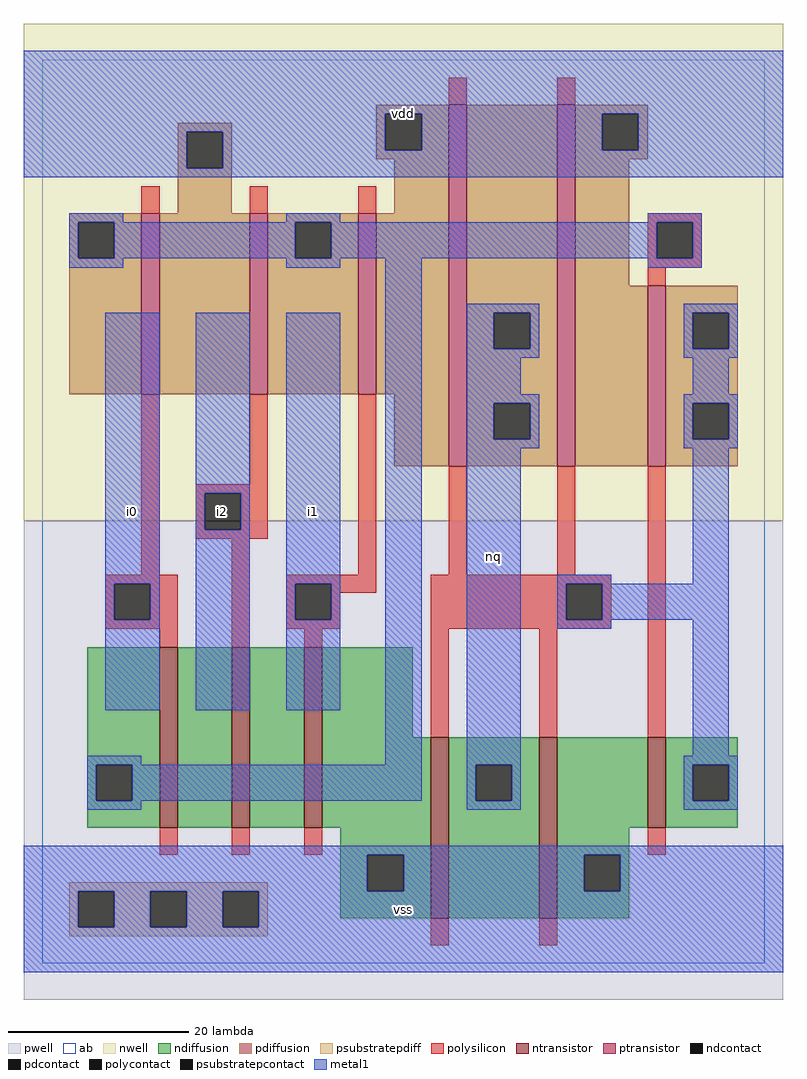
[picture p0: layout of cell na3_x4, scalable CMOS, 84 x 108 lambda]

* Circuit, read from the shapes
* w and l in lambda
.subckt na3_x4 i0 i1 i2 nq vdd vss
M1 n1 i0 n2 vss nfet w=20 l=2
M2 n3 i2 n1 vss nfet w=20 l=2
M3 vss i1 n3 vss nfet w=20 l=2
M4 nq n4 vss vss nfet w=20 l=2 m=2
M5 n4 n2 vss vss nfet w=10 l=2
M6 vdd i0 n2 n5 pfet w=20 l=2
M7 n2 i2 vdd n5 pfet w=20 l=2
M8 vdd i1 n2 n5 pfet w=20 l=2
M9 nq n4 vdd n5 pfet w=40 l=2 m=2
M10 n4 n2 vdd n5 pfet w=20 l=2
.ends

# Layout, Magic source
magic
tech scmos
<< ab >>
rect 0 0 80 100
<< pwell >>
rect -2 -4 82 49
<< nwell >>
rect -2 49 82 104
<< polysilicon >>
rect 45 95 47 98
rect 57 95 59 98
rect 11 83 13 86
rect 23 83 25 86
rect 35 83 37 86
rect 11 43 13 63
rect 23 53 25 63
rect 17 52 25 53
rect 17 48 18 52
rect 22 48 25 52
rect 17 47 25 48
rect 7 42 15 43
rect 7 38 8 42
rect 12 38 15 42
rect 7 37 15 38
rect 13 35 15 37
rect 21 35 23 47
rect 35 43 37 63
rect 67 82 73 83
rect 67 78 68 82
rect 72 78 73 82
rect 67 77 73 78
rect 67 75 69 77
rect 45 43 47 55
rect 57 43 59 55
rect 27 42 37 43
rect 27 38 28 42
rect 32 41 37 42
rect 43 42 63 43
rect 32 38 33 41
rect 27 37 33 38
rect 43 38 58 42
rect 62 38 63 42
rect 43 37 63 38
rect 29 35 31 37
rect 43 25 45 37
rect 55 25 57 37
rect 67 25 69 55
rect 13 12 15 15
rect 21 12 23 15
rect 29 12 31 15
rect 67 12 69 15
rect 43 2 45 5
rect 55 2 57 5
<< ndiffusion >>
rect 5 22 13 35
rect 5 18 6 22
rect 10 18 13 22
rect 5 15 13 18
rect 15 15 21 35
rect 23 15 29 35
rect 31 25 41 35
rect 31 15 43 25
rect 33 12 43 15
rect 33 8 36 12
rect 40 8 43 12
rect 33 5 43 8
rect 45 22 55 25
rect 45 18 48 22
rect 52 18 55 22
rect 45 5 55 18
rect 57 15 67 25
rect 69 22 77 25
rect 69 18 72 22
rect 76 18 77 22
rect 69 15 77 18
rect 57 12 65 15
rect 57 8 60 12
rect 64 8 65 12
rect 57 5 65 8
<< pdiffusion >>
rect 37 94 45 95
rect 15 92 21 93
rect 15 88 16 92
rect 20 88 21 92
rect 37 90 38 94
rect 42 90 45 94
rect 37 89 45 90
rect 15 83 21 88
rect 39 83 45 89
rect 3 82 11 83
rect 3 78 4 82
rect 8 78 11 82
rect 3 63 11 78
rect 13 63 23 83
rect 25 82 35 83
rect 25 78 28 82
rect 32 78 35 82
rect 25 63 35 78
rect 37 63 45 83
rect 39 55 45 63
rect 47 72 57 95
rect 47 68 50 72
rect 54 68 57 72
rect 47 62 57 68
rect 47 58 50 62
rect 54 58 57 62
rect 47 55 57 58
rect 59 94 67 95
rect 59 90 62 94
rect 66 90 67 94
rect 59 89 67 90
rect 59 75 65 89
rect 59 55 67 75
rect 69 72 77 75
rect 69 68 72 72
rect 76 68 77 72
rect 69 62 77 68
rect 69 58 72 62
rect 76 58 77 62
rect 69 55 77 58
<< metal1 >>
rect -2 94 82 101
rect -2 92 38 94
rect -2 88 16 92
rect 20 90 38 92
rect 42 90 62 94
rect 66 90 82 94
rect 20 88 82 90
rect -2 87 82 88
rect 3 82 9 83
rect 27 82 33 83
rect 67 82 73 83
rect 3 78 4 82
rect 8 78 28 82
rect 32 78 68 82
rect 72 78 73 82
rect 3 77 9 78
rect 27 77 33 78
rect 7 42 13 72
rect 7 38 8 42
rect 12 38 13 42
rect 7 28 13 38
rect 17 52 23 72
rect 17 48 18 52
rect 22 48 23 52
rect 17 28 23 48
rect 27 42 33 72
rect 27 38 28 42
rect 32 38 33 42
rect 27 28 33 38
rect 5 22 11 23
rect 38 22 42 78
rect 67 77 73 78
rect 5 18 6 22
rect 10 18 42 22
rect 47 72 55 73
rect 47 68 50 72
rect 54 68 55 72
rect 47 67 55 68
rect 71 72 77 73
rect 71 68 72 72
rect 76 68 77 72
rect 71 67 77 68
rect 47 63 53 67
rect 72 63 76 67
rect 47 62 55 63
rect 47 58 50 62
rect 54 58 55 62
rect 47 57 55 58
rect 71 62 77 63
rect 71 58 72 62
rect 76 58 77 62
rect 71 57 77 58
rect 47 22 53 57
rect 57 42 63 43
rect 72 42 76 57
rect 57 38 58 42
rect 62 38 76 42
rect 57 37 63 38
rect 72 23 76 38
rect 47 18 48 22
rect 52 18 53 22
rect 5 17 11 18
rect 47 17 53 18
rect 71 22 77 23
rect 71 18 72 22
rect 76 18 77 22
rect 71 17 77 18
rect -2 12 82 13
rect -2 8 36 12
rect 40 8 60 12
rect 64 8 82 12
rect -2 4 4 8
rect 8 4 12 8
rect 16 4 20 8
rect 24 4 82 8
rect -2 -1 82 4
<< ntransistor >>
rect 13 15 15 35
rect 21 15 23 35
rect 29 15 31 35
rect 43 5 45 25
rect 55 5 57 25
rect 67 15 69 25
<< ptransistor >>
rect 11 63 13 83
rect 23 63 25 83
rect 35 63 37 83
rect 45 55 47 95
rect 57 55 59 95
rect 67 55 69 75
<< polycontact >>
rect 18 48 22 52
rect 8 38 12 42
rect 68 78 72 82
rect 28 38 32 42
rect 58 38 62 42
<< ndcontact >>
rect 6 18 10 22
rect 36 8 40 12
rect 48 18 52 22
rect 72 18 76 22
rect 60 8 64 12
<< pdcontact >>
rect 16 88 20 92
rect 38 90 42 94
rect 4 78 8 82
rect 28 78 32 82
rect 50 68 54 72
rect 50 58 54 62
rect 62 90 66 94
rect 72 68 76 72
rect 72 58 76 62
<< psubstratepcontact >>
rect 4 4 8 8
rect 12 4 16 8
rect 20 4 24 8
<< psubstratepdiff >>
rect 3 8 25 9
rect 3 4 4 8
rect 8 4 12 8
rect 16 4 20 8
rect 24 4 25 8
rect 3 3 25 4
<< labels >>
rlabel metal1 10 50 10 50 6 i0
rlabel metal1 10 50 10 50 6 i0
rlabel metal1 30 50 30 50 6 i1
rlabel metal1 30 50 30 50 6 i1
rlabel polycontact 20 50 20 50 6 i2
rlabel polycontact 20 50 20 50 6 i2
rlabel metal1 40 6 40 6 6 vss
rlabel metal1 40 6 40 6 6 vss
rlabel metal1 50 45 50 45 6 nq
rlabel metal1 50 45 50 45 6 nq
rlabel metal1 40 94 40 94 6 vdd
rlabel metal1 40 94 40 94 6 vdd
<< end >>
